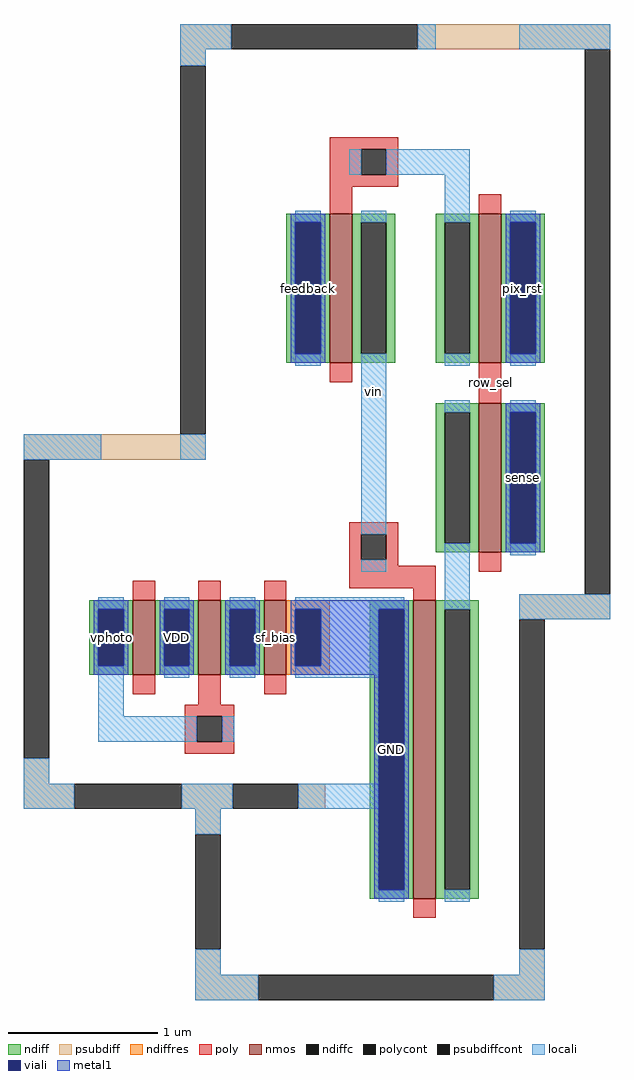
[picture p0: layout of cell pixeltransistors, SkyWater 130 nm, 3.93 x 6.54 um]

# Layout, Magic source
magic
tech sky130A
<< nmos >>
rect 233 194 248 294
rect 333 194 348 294
rect 333 67 348 167
rect 101 -15 116 35
rect 145 -15 160 35
rect 189 -15 204 35
rect 289 -165 304 35
<< ndiff >>
rect 204 288 233 294
rect 204 200 210 288
rect 227 200 233 288
rect 204 194 233 200
rect 248 288 277 294
rect 248 200 254 288
rect 271 200 277 288
rect 248 194 277 200
rect 304 288 333 294
rect 304 200 310 288
rect 327 200 333 288
rect 304 194 333 200
rect 348 288 377 294
rect 348 200 354 288
rect 371 200 377 288
rect 348 194 377 200
rect 304 161 333 167
rect 304 73 310 161
rect 327 73 333 161
rect 304 67 333 73
rect 348 161 377 167
rect 348 73 354 161
rect 371 73 377 161
rect 348 67 377 73
rect 72 29 101 35
rect 72 -9 78 29
rect 95 -9 101 29
rect 72 -15 101 -9
rect 116 29 145 35
rect 116 -9 122 29
rect 139 -9 145 29
rect 116 -15 145 -9
rect 160 29 189 35
rect 160 -9 166 29
rect 183 -9 189 29
rect 160 -15 189 -9
rect 260 29 289 35
rect 260 -159 266 29
rect 283 -159 289 29
rect 260 -165 289 -159
rect 304 29 333 35
rect 304 -159 310 29
rect 327 -159 333 29
rect 304 -165 333 -159
<< ndiffc >>
rect 210 200 227 288
rect 254 200 271 288
rect 310 200 327 288
rect 354 200 371 288
rect 310 73 327 161
rect 354 73 371 161
rect 78 -9 95 29
rect 122 -9 139 29
rect 166 -9 183 29
rect 210 -9 227 29
rect 266 -159 283 29
rect 310 -159 327 29
<< psubdiff >>
rect 133 404 167 421
rect 292 404 421 421
rect 133 393 150 404
rect 28 129 150 146
rect 28 -88 45 -71
rect 28 -105 62 -88
rect 134 -105 168 -88
rect 212 -105 230 -88
rect 143 -122 160 -105
rect 360 22 421 39
rect 143 -216 160 -199
rect 360 -216 377 -199
rect 143 -233 185 -216
rect 343 -233 377 -216
<< psubdiffcont >>
rect 167 404 292 421
rect 133 146 150 393
rect 28 -71 45 129
rect 404 39 421 404
rect 62 -105 134 -88
rect 168 -105 212 -88
rect 143 -199 160 -122
rect 360 -199 377 22
rect 185 -233 343 -216
<< poly >>
rect 233 337 279 345
rect 233 320 254 337
rect 271 320 279 337
rect 233 312 279 320
rect 233 294 248 312
rect 333 294 348 307
rect 233 181 248 194
rect 333 167 348 194
rect 246 79 279 87
rect 246 62 254 79
rect 271 62 279 79
rect 246 58 279 62
rect 101 35 116 48
rect 145 35 160 48
rect 189 35 204 48
rect 246 43 304 58
rect 333 54 348 67
rect 289 35 304 43
rect 101 -28 116 -15
rect 145 -35 160 -15
rect 189 -28 204 -15
rect 136 -43 169 -35
rect 136 -60 144 -43
rect 161 -60 169 -43
rect 136 -68 169 -60
rect 289 -178 304 -165
<< polycont >>
rect 254 320 271 337
rect 254 62 271 79
rect 144 -60 161 -43
<< ndiffres >>
rect 204 29 233 35
rect 204 -9 210 29
rect 227 -9 233 29
rect 204 -15 233 -9
<< locali >>
rect 133 404 167 421
rect 292 404 304 421
rect 360 404 421 421
rect 133 393 150 404
rect 246 320 254 337
rect 271 320 327 337
rect 210 288 227 296
rect 210 192 227 200
rect 254 288 271 296
rect 28 129 80 146
rect 133 129 150 146
rect 254 79 271 200
rect 310 288 327 320
rect 310 192 327 200
rect 354 288 371 296
rect 354 192 371 200
rect 254 54 271 62
rect 310 161 327 169
rect 78 29 95 37
rect 78 -43 95 -9
rect 122 29 139 37
rect 122 -17 139 -9
rect 166 29 183 37
rect 166 -17 183 -9
rect 210 29 283 37
rect 227 -9 266 29
rect 210 -17 266 -9
rect 78 -60 144 -43
rect 161 -60 169 -43
rect 28 -88 45 -71
rect 28 -105 62 -88
rect 134 -105 168 -88
rect 212 -105 266 -88
rect 143 -122 160 -105
rect 266 -167 283 -159
rect 310 29 327 73
rect 354 161 371 169
rect 354 65 371 73
rect 310 -167 327 -159
rect 360 22 421 39
rect 143 -216 160 -199
rect 360 -216 377 -199
rect 143 -233 185 -216
rect 343 -233 377 -216
<< viali >>
rect 210 200 227 288
rect 354 200 371 288
rect 78 -9 95 29
rect 122 -9 139 29
rect 166 -9 183 29
rect 210 -9 227 29
rect 266 -159 283 29
rect 354 73 371 161
<< metal1 >>
rect 207 288 230 294
rect 207 200 210 288
rect 227 200 230 288
rect 207 194 230 200
rect 351 288 374 294
rect 351 200 354 288
rect 371 200 374 288
rect 351 194 374 200
rect 351 161 374 167
rect 351 73 354 161
rect 371 73 374 161
rect 351 67 374 73
rect 75 29 98 35
rect 75 -9 78 29
rect 95 -9 98 29
rect 75 -15 98 -9
rect 119 29 142 35
rect 119 -9 122 29
rect 139 -9 142 29
rect 119 -15 142 -9
rect 163 29 186 35
rect 163 -9 166 29
rect 183 -9 186 29
rect 163 -15 186 -9
rect 207 29 286 35
rect 207 -9 210 29
rect 227 -9 266 29
rect 207 -15 266 -9
rect 263 -159 266 -15
rect 283 -159 286 29
rect 263 -165 286 -159
<< labels >>
flabel metal1 263 -165 286 35 0 FreeSans 100 90 0 0 GND
port 0 nsew
flabel metal1 119 -15 142 35 0 FreeSans 100 90 0 0 VDD
port 1 ns
flabel poly 333 54 348 307 0 FreeSans 100 90 0 0 row_sel
port 2 ns
flabel poly 101 -28 116 48 0 FreeSans 100 90 0 0 vph_bias
port 3 ns
flabel poly 189 -28 204 48 0 FreeSans 100 90 0 0 sf_bias
port 4 ns
flabel metal1 75 -15 98 35 0 FreeSans 100 90 0 0 vphoto
port 5 ns
flabel metal1 163 -15 186 35 0 FreeSans 100 90 0 0 vph_sf
port 6 ns
flabel metal1 207 194 230 294 0 FreeSans 100 90 0 0 feedback
port 7 n
flabel metal1 351 194 374 294 0 FreeSans 100 90 0 0 pix_rst
port 8 nsew
flabel locali 254 54 271 296 0 FreeSans 100 90 0 0 vin
port 9 e
flabel metal1 351 67 374 167 0 FreeSans 100 90 0 0 sense
port 10 nsw
<< end >>
